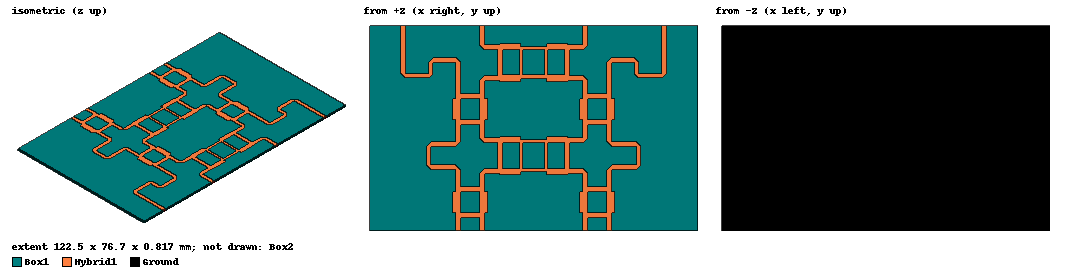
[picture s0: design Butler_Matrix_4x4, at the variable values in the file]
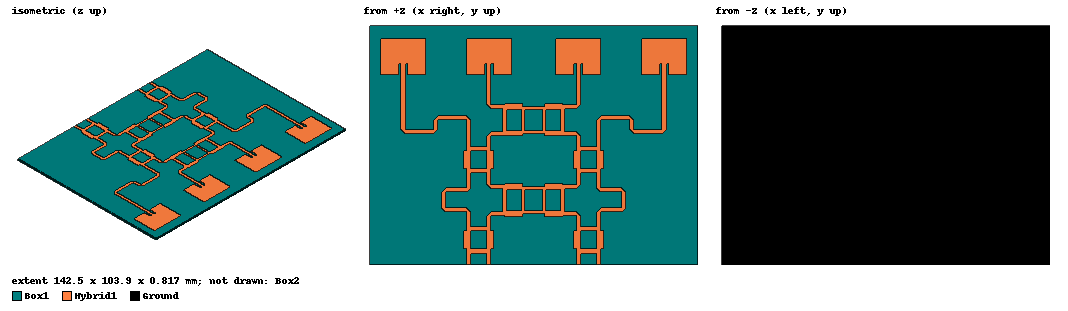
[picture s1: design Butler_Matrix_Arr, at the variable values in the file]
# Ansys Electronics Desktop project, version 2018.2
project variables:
  $W_50 = 2.21849mm
  $L_50 = 8.92656mm
  $W_120 = 0.30894mm
  $W_70 = 1.19566mm
  $L_120 = 9.52516mm
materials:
  copper: permeability=0.999991 conductivity=58000000
  FR4_epoxy: permittivity=4.4 dielectric_loss_tangent=0.02
  Rogers RO4003 (tm): permittivity=3.55 dielectric_loss_tangent=0.0027
  vacuum: permittivity=1

design Butler_Matrix_4x4 (HFSS, DrivenModal, model units mm)
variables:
  H = 0.8mm
  W_50 = 2.3mm
  Hybrid_L_35 = 7.82mm
  Hybrid_L_50 = 7.05mm
  Hybrid_L = 2*Hybrid_L_feed+2*Hybrid_W_50+Hybrid_L_35
  Hybrid_W = 25mm
  Hybrid_W_50 = 1.7645mm
  Hybrid_W_35 = 2.985mm
  Hybrid_L_feed = 5mm
  Cross_L_50 = Cross_L_64
  Cross_W_50 = 1.76772mm
  Cross_L_feed = 5mm
  Cross_L = 2*Cross_L_feed+2*Cross_L_40+Cross_L_64+Cross_W_50
  Cross_W = 25mm
  Phase_c = 6.920022mm
  Phase_W = 40mm
  Phase_W_50 = 1.7645mm
  Phase_a = 1.5mm
  Phase_b = 9.3mm
  L_feed6 = L_feed5
  L_feed7 = L_feed5
  L_feed5 = 7.1mm
  L = 2*Hybrid_L+2*Cross_L_50+2*Cross_W_50+2*Cross_W_40+L_feed5
  L_feed8 = L_feed5
  W = Cross_L+6*Hybrid_W_50+2*Hybrid_L_50+2*Phase_b
  exten_b = 4mm
  exten_W_50 = 1.7645mm
  exten_a = 6.724511mm
  exten_c = 8.5mm
  exten_W = 30mm
  exten_L = 2*exten_a+2*exten_W_50+exten_c
  Phase_L = 2*Phase_a+2*Phase_W_50+Phase_c
  L_feed = 5mm
  L_50 = 9.2mm
  exten_pad = 6mm
  Cross_L_64 = 9.348402mm
  Cross_W_64 = 1.1734mm
  Cross_L_40 = 7.9149mm
  Cross_W_40 = 2.3329mm
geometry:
  Box1 [Rogers RO4003 (tm)] = box(corner=(-25mm, 0mm, 0mm), size=(W+42.292mm, L, H))
  Ground = object_from(Box1.face(-z))
  Port2 = rectangle(corner=(Hybrid_W/2+Hybrid_L_50/2, 0mm, H), z_size=-H, x_size=Hybrid_W_50)
  Port1 = rectangle(corner=(Hybrid_W/2-Hybrid_L_50/2, 0mm, H), z_size=-H, x_size=-Hybrid_W_50)
  Port3 = rectangle(corner=(Cross_L+Hybrid_W/2+Hybrid_L_50/2+Hybrid_W_50, 0mm, H), z_size=-H, x_size=Hybrid_W_50)
  Port4 = rectangle(corner=(Cross_L+Hybrid_W/2+1.5*Hybrid_L_50+2*Hybrid_W_50, 0mm, H), z_size=-H, x_size=Hybrid_W_50)
  Port5 = rectangle(corner=(Hybrid_W/2-Hybrid_L_50/2-2*exten_W_50-2*exten_c, L, H), z_size=-H, x_size=-Hybrid_W_50)
  Port6 = rectangle(corner=(Hybrid_W/2+Hybrid_L_50/2, L, H), z_size=-H, x_size=Cross_W_50)
  Port7 = rectangle(corner=(Cross_L+Hybrid_W/2+Hybrid_L_50/2+Hybrid_W_50, L, H), z_size=-H, x_size=Cross_W_50)
  Port8 = rectangle(corner=(Cross_L+Hybrid_W/2+1.5*Hybrid_L_50+4*Hybrid_W_50+2*exten_c, L, H), z_size=-H, x_size=Hybrid_W_50)
  Box2 [vacuum] = box(corner=(-35mm, -10mm, -10mm), size=(W+70mm-2*3.854mm, 20mm+L, 20mm))
  Hybrid1 [copper] = rectangle(corner=(Hybrid_W/2-Hybrid_L_50/2, 0mm, H), x_size=-Hybrid_W_50, y_size=Hybrid_L_feed+Hybrid_W_50)
  feed2 = rectangle(corner=(Hybrid_W/2-Hybrid_L_50/2, Hybrid_L, H), x_size=-Hybrid_W_50, y_size=-Hybrid_L_feed-Hybrid_W_50)
  feed3 = rectangle(corner=(Hybrid_W/2+Hybrid_L_50/2, Hybrid_L, H), x_size=Hybrid_W_50, y_size=-Hybrid_L_feed-Hybrid_W_50)
  feed4 = rectangle(corner=(Hybrid_W/2+Hybrid_L_50/2, 0mm, H), x_size=Hybrid_W_50, y_size=Hybrid_L_feed+Hybrid_W_50)
  branch42 = rectangle(corner=(Hybrid_W/2-Hybrid_L_50/2, Hybrid_L_feed+Hybrid_W_50, H), x_size=-Hybrid_W_35, y_size=Hybrid_L_35)
  branch43 = rectangle(corner=(Hybrid_W/2+Hybrid_L_50/2, Hybrid_L_feed+Hybrid_W_50, H), x_size=Hybrid_W_35, y_size=Hybrid_L_35)
  branch44 = rectangle(corner=(Hybrid_W/2-Hybrid_L_50/2, Hybrid_L_feed, H), x_size=Hybrid_L_50, y_size=Hybrid_W_50)
  branch45 = rectangle(corner=(Hybrid_W/2-Hybrid_L_50/2, Hybrid_L_feed+Hybrid_L_35+Hybrid_W_50, H), x_size=Hybrid_L_50, y_size=Hybrid_W_50)
  Hybrid1.unite(feed2, feed3, feed4, branch42..branch45)
  Hybird3 = Hybrid1.duplicate_along_line(step=(0mm, Hybrid_L+Cross_L_50+Cross_W_50+Cross_W_40, 0mm), total=2)
  Bend_1 = polyline(z=H, xy: (Hybrid_W/2+Hybrid_L_50/2+Hybrid_W_50, Hybrid_L) (Hybrid_W/2+Hybrid_L_50/2+Hybrid_W_50, Hybrid_L+Cross_W_50) (Hybrid_W/2+Hybrid_L_50/2, Hybrid_L) (Hybrid_W/2+Hybrid_L_50/2+Hybrid_W_50, Hybrid_L), closed, covered)
  Bend_2 = polyline(z=H, xy: (Cross_L+Hybrid_W/2+Hybrid_L_50/2+Hybrid_W_50, Hybrid_L) (Cross_L+Hybrid_W/2+Hybrid_L_50/2+2*Hybrid_W_50, Hybrid_L) (Cross_L+Hybrid_W/2+Hybrid_L_50/2+Hybrid_W_50, Hybrid_L+Cross_W_50) (Cross_L+Hybrid_W/2+Hybrid_L_50/2+Hybrid_W_50, Hybrid_L), closed, covered)
  Hybrid2 = Hybrid1.duplicate_along_line(step=(Cross_L+Hybrid_L_50+2*Hybrid_W_50, 0mm, 0mm), total=2)
  Hybrid4 = Hybird3.duplicate_along_line(step=(Cross_L+Hybrid_L_50+2*Hybrid_W_50, 0mm, 0mm), total=2)
  Bend_3 = polyline(z=H, xy: (Hybrid_W/2+Hybrid_L_50/2+Hybrid_W_50, Hybrid_L+Cross_W_40+Cross_L_50) (Hybrid_W/2+Hybrid_L_50/2+Hybrid_W_50, Hybrid_L+Cross_W_50+Cross_W_40+Cross_L_50) (Hybrid_W/2+Hybrid_L_50/2, Hybrid_L+Cross_W_50+Cross_W_40+Cross_L_50) (Hybrid_W/2+Hybrid_L_50/2+Hybrid_W_50, Hybrid_L+Cross_W_40+Cross_L_50), closed, covered)
  Bend_4 = polyline(z=H, xy: (Cross_L+Hybrid_W/2+Hybrid_L_50/2+Hybrid_W_50, Hybrid_L+Cross_L_50+Cross_W_40) (Cross_L+Hybrid_W/2+Hybrid_L_50/2+Hybrid_W_50, Hybrid_L+Cross_L_50+Cross_W_50+Cross_W_40) (Cross_L+Hybrid_W/2+Hybrid_L_50/2+2*Hybrid_W_50, Hybrid_L+Cross_L_50+Cross_W_50+Cross_W_40) (Cross_L+Hybrid_W/2+Hybrid_L_50/2+Hybrid_W_50, Hybrid_L+Cross_L_50+Cross_W_40), closed, covered)
  Bend_5 = polyline(z=H, xy: (Hybrid_W/2+Hybrid_L_50/2+Hybrid_W_50, Hybrid_L+Cross_W_40+Cross_W_50+Cross_L_50+Hybrid_L) (Hybrid_W/2+Hybrid_L_50/2+Hybrid_W_50, Hybrid_L+Cross_W_40+2*Cross_W_50+Cross_L_50+Hybrid_L) (Hybrid_W/2+Hybrid_L_50/2, Hybrid_L+Cross_W_40+Cross_W_50+Cross_L_50+Hybrid_L) (Hybrid_W/2+Hybrid_L_50/2+Hybrid_W_50, Hybrid_L+Cross_W_40+Cross_W_50+Cross_L_50+Hybrid_L), closed, covered)
  Bend_6 = polyline(z=H, xy: (Cross_L+Hybrid_W/2+Hybrid_L_50/2+Hybrid_W_50, 2*Hybrid_L+Cross_L_50+Cross_W_50+Cross_W_40) (Cross_L+Hybrid_W/2+Hybrid_L_50/2+Hybrid_W_50, 2*Hybrid_L+Cross_L_50+2*Cross_W_50+Cross_W_40) (Cross_L+Hybrid_W/2+Hybrid_L_50/2+2*Hybrid_W_50, 2*Hybrid_L+Cross_L_50+Cross_W_50+Cross_W_40) (Cross_L+Hybrid_W/2+Hybrid_L_50/2+Hybrid_W_50, 2*Hybrid_L+Cross_L_50+Cross_W_50+Cross_W_40), closed, covered)
  Phaser45_top = rectangle(corner=(Phase_W/2-Phase_W_50/2, 0mm, H), x_size=Phase_W_50, y_size=Phase_a)
  TL5 = rectangle(corner=(Phase_W/2-Phase_W_50/2, Phase_a+2*Phase_W_50+Phase_c, H), x_size=Phase_W_50, y_size=Phase_a)
  TL4 = rectangle(corner=(Phase_W/2-Phase_W_50/2-Phase_b, Phase_a+Phase_W_50+Phase_c, H), x_size=Phase_b, y_size=Phase_W_50)
  TL3 = rectangle(corner=(Phase_W/2-Phase_W_50/2-Phase_b, Phase_a+Phase_W_50, H), x_size=-Phase_W_50, y_size=Phase_c)
  TL2 = rectangle(corner=(Phase_W/2-Phase_W_50/2, Phase_a, H), x_size=-Phase_b, y_size=Phase_W_50)
  Bend10 = polyline(z=H, xy: (Phase_W/2-Phase_W_50/2, Phase_a+Phase_W_50+Phase_c) (Phase_W/2+Phase_W_50/2, Phase_a+2*Phase_W_50+Phase_c) (Phase_W/2-Phase_W_50/2, Phase_a+2*Phase_W_50+Phase_c) (Phase_W/2-Phase_W_50/2, Phase_a+Phase_W_50+Phase_c), closed, covered)
  Bend9 = polyline(z=H, xy: (Phase_W/2-1.5*Phase_W_50-Phase_b, Phase_a+Phase_W_50+Phase_c) (Phase_W/2-Phase_W_50/2-Phase_b, Phase_a+2*Phase_W_50+Phase_c) (Phase_W/2-Phase_W_50/2-Phase_b, Phase_a+Phase_W_50+Phase_c) (Phase_W/2-1.5*Phase_W_50-Phase_b, Phase_a+Phase_W_50+Phase_c), closed, covered)
  Bend8 = polyline(z=H, xy: (Phase_W/2-Phase_W_50/2-Phase_b, Phase_a) (Phase_W/2-1.5*Phase_W_50-Phase_b, Phase_a+Phase_W_50) (Phase_W/2-Phase_W_50/2-Phase_b, Phase_a+Phase_W_50) (Phase_W/2-Phase_W_50/2-Phase_b, Phase_a), closed, covered)
  Bend7 = polyline(z=H, xy: (Phase_W/2+Phase_W_50/2, Phase_a) (Phase_W/2-Phase_W_50/2, Phase_a+Phase_W_50) (Phase_W/2-Phase_W_50/2, Phase_a) (Phase_W/2+Phase_W_50/2, Phase_a), closed, covered)
  Phaser45_top.unite(TL5, TL4, TL3, TL2, Bend10, Bend9, Bend8, Bend7)
  Phaser45_top.move(-Phase_W/2+Phase_W_50/2+Hybrid_W/2-Hybrid_L_50/2-Hybrid_W_50, Hybrid_L, 0mm)
  Phaser45_down = Phaser45_top.duplicate_mirror(point=(Hybrid_W/2+Hybrid_L_50/2+Hybrid_W_50+Cross_L/2, Hybrid_L+Cross_W_50+Cross_L_50/2, 0mm), normal=(1mm, 0mm, 0mm))
  Feed_6 = rectangle(corner=(Hybrid_W/2+Hybrid_L_50/2+Hybrid_W_50, 2*Hybrid_L+2*Cross_W_50+2*Cross_W_40+2*Cross_L_50, H), x_size=-Cross_W_50, y_size=L_feed6)
  Feed_7 = rectangle(corner=(Cross_L+Hybrid_W/2+Hybrid_L_50/2+Hybrid_W_50, 2*Hybrid_L+2*Cross_L_50+2*Cross_W_50+2*Cross_W_40, H), x_size=Cross_W_50, y_size=L_feed7)
  Feed_5 = rectangle(corner=(Hybrid_W/2-Hybrid_L_50/2-2*exten_W_50-2*exten_c, 2*Hybrid_L+2*Cross_W_50+2*Cross_W_40+2*Cross_L_50, H), x_size=-Hybrid_W_50, y_size=L_feed5)
  Feed_8 = rectangle(corner=(Cross_L+Hybrid_W/2+1.5*Hybrid_L_50+2*Hybrid_W_50+2*exten_c+2*exten_W_50, 2*Hybrid_L+2*Cross_W_50+2*Cross_W_40+2*Cross_L_50, H), x_size=Hybrid_W_50, y_size=L_feed8)
  Bend_7 = polyline(z=H, xy: (Hybrid_W/2+Hybrid_L_50/2+Hybrid_W_50, 2*Hybrid_L+Cross_W_50+2*Cross_W_40+2*Cross_L_50) (Hybrid_W/2+Hybrid_L_50/2+Hybrid_W_50, 2*Hybrid_L+2*Cross_W_50+2*Cross_W_40+2*Cross_L_50) (Hybrid_W/2+Hybrid_L_50/2, 2*Hybrid_L+2*Cross_W_50+2*Cross_W_40+2*Cross_L_50) (Hybrid_W/2+Hybrid_L_50/2+Hybrid_W_50, 2*Hybrid_L+Cross_W_50+2*Cross_W_40+2*Cross_L_50), closed, covered)
  Bend_8 = polyline(z=H, xy: (Cross_L+Hybrid_W/2+Hybrid_L_50/2+Hybrid_W_50, 2*Hybrid_L+2*Cross_L_50+Cross_W_50+2*Cross_W_40) (Cross_L+Hybrid_W/2+Hybrid_L_50/2+Hybrid_W_50, 2*Hybrid_L+2*Cross_L_50+2*Cross_W_50+2*Cross_W_40) (Cross_L+Hybrid_W/2+Hybrid_L_50/2+2*Hybrid_W_50, 2*Hybrid_L+2*Cross_L_50+2*Cross_W_50+2*Cross_W_40) (Cross_L+Hybrid_W/2+Hybrid_L_50/2+Hybrid_W_50, 2*Hybrid_L+2*Cross_L_50+Cross_W_50+2*Cross_W_40), closed, covered)
  coordinate_system RelativeCS1 = origin=(Cross_W/2+Cross_L_50/2+Cross_W_40/2+Cross_W_50/2, 0mm, 0.8mm) x=(1mm, 0mm, 0mm) y=(0mm, 1mm, 0mm)
  Top = rectangle(corner=(exten_W-exten_W_50-exten_pad, 0mm, H), x_size=exten_W_50, y_size=exten_a)
  TL6 = rectangle(corner=(exten_W-2*exten_W_50-exten_pad-2*exten_c, exten_a, H), x_size=-exten_W_50, y_size=exten_a)
  TL9 = rectangle(corner=(exten_W-2*exten_W_50-exten_pad-2*exten_c, exten_a-exten_b, H), x_size=-exten_W_50, y_size=exten_b)
  TL10 = rectangle(corner=(exten_W-2*exten_W_50-exten_pad-exten_c, exten_a-exten_b, H), x_size=-exten_c, y_size=-exten_W_50)
  TL8 = rectangle(corner=(exten_W-exten_W_50-exten_pad-exten_c, exten_a, H), x_size=-exten_W_50, y_size=-exten_b)
  TL7 = rectangle(corner=(exten_W-exten_W_50-exten_pad, exten_a, H), x_size=-exten_c, y_size=exten_W_50)
  Bend4 = polyline(z=H, xy: (exten_W-2*exten_W_50-exten_pad-2*exten_c, exten_a-exten_b-exten_W_50) (exten_W-2*exten_W_50-exten_pad-2*exten_c, exten_a-exten_b) (exten_W-3*exten_W_50-exten_pad-2*exten_c, exten_a-exten_b) (exten_W-2*exten_W_50-exten_pad-2*exten_c, exten_a-exten_b-exten_W_50), closed, covered)
  Bend3 = polyline(z=H, xy: (exten_W-2*exten_W_50-exten_pad-exten_c, exten_a-exten_b) (exten_W-2*exten_W_50-exten_pad-exten_c, exten_a-exten_b-exten_W_50) (exten_W-exten_W_50-exten_pad-exten_c, exten_a-exten_b) (exten_W-2*exten_W_50-exten_pad-exten_c, exten_a-exten_b), closed, covered)
  Bend2 = polyline(z=H, xy: (exten_W-exten_W_50-exten_pad-exten_c, exten_a) (exten_W-2*exten_W_50-exten_pad-exten_c, exten_a) (exten_W-exten_W_50-exten_pad-exten_c, exten_a+exten_W_50) (exten_W-exten_W_50-exten_pad-exten_c, exten_a), closed, covered)
  Bend1 = polyline(z=H, xy: (exten_W-exten_pad, exten_a) (exten_W-exten_W_50-exten_pad, exten_a+exten_W_50) (exten_W-exten_W_50-exten_pad, exten_a) (exten_W-exten_pad, exten_a), closed, covered)
  Top.unite(TL6, TL9, TL10, TL8, TL7, Bend4, Bend3, Bend2, Bend1)
  Top.move(-exten_W+exten_W_50+exten_pad+Hybrid_W/2-Hybrid_L_50/2-Hybrid_W_50, 2*Hybrid_L+Cross_W_40+Cross_W_50+Cross_L_50, 0mm)
  Crossover1 = rectangle(corner=(Cross_W/2-Cross_L_64/2-Cross_W_40/2-Cross_W_50/2, 0mm, H), x_size=Cross_W_50, y_size=Cross_L_feed+Cross_W_50/2)
  feed6 = rectangle(corner=(Cross_W/2-Cross_L_64/2-Cross_W_40/2-Cross_W_50/2, Cross_L, H), x_size=Cross_W_50, y_size=-Cross_L_feed-Cross_W_50/2)
  feed7 = rectangle(corner=(Cross_W/2+Cross_L_64/2+Cross_W_40/2+Cross_W_50/2, Cross_L, H), x_size=-Cross_W_50, y_size=-Cross_L_feed-Cross_W_50/2)
  feed5 = rectangle(corner=(Cross_W/2+Cross_L_64/2+Cross_W_40/2+Cross_W_50/2, 0mm, H), x_size=-Cross_W_50, y_size=Cross_L_feed+Cross_W_50/2)
  parallel1 = rectangle(corner=(Cross_W/2-Cross_L_64/2, Cross_L_feed, H), x_size=Cross_L_50, y_size=Cross_W_50)
  parallel2 = rectangle(corner=(Cross_W/2-Cross_L_64/2, Cross_L_feed+Cross_W_50/2+Cross_L_40-Cross_W_64/2, H), x_size=Cross_L_64, y_size=Cross_W_64)
  parallel3 = rectangle(corner=(Cross_W/2-Cross_L_64/2, Cross_L_feed+Cross_W_50/2+Cross_L_40+Cross_L_64-Cross_W_64/2, H), x_size=Cross_L_64, y_size=Cross_W_64)
  parallel4 = rectangle(corner=(Cross_W/2-Cross_L_64/2, Cross_L_feed+2*Cross_L_40+Cross_L_64, H), x_size=Cross_L_50, y_size=Cross_W_50)
  Polyline1 = polyline(z=H, xy: (Cross_W/2-Cross_L_50/2, Cross_L_feed+Cross_W_50/2) (Cross_W/2-Cross_L_50/2-Cross_W_40/2+Cross_W_50/2, Cross_L_feed+Cross_W_50/2) (Cross_W/2-Cross_L_50/2-Cross_W_40/2+Cross_W_50/2, Cross_L_feed) (Cross_W/2-Cross_L_50/2, Cross_L_feed) (Cross_W/2-Cross_L_50/2, Cross_L_feed+Cross_W_50/2), closed, covered)
  Polyline2 = polyline(z=H, xy: (Cross_W/2+Cross_L_50/2, Cross_L_feed+Cross_W_50/2) (Cross_W/2+Cross_L_50/2+Cross_W_40/2-Cross_W_50/2, Cross_L_feed+Cross_W_50/2) (Cross_W/2+Cross_L_50/2+Cross_W_40/2-Cross_W_50/2, Cross_L_feed) (Cross_W/2+Cross_L_50/2, Cross_L_feed) (Cross_W/2+Cross_L_50/2, Cross_L_feed+Cross_W_50/2), closed, covered)
  Polyline3 = polyline(z=H, xy: (Cross_W/2-Cross_L_50/2, Cross_L-Cross_L_feed-Cross_W_50/2) (Cross_W/2-Cross_L_50/2, Cross_L-Cross_L_feed) (Cross_W/2-Cross_L_50/2-Cross_W_40/2+Cross_W_50/2, Cross_L-Cross_L_feed) (Cross_W/2-Cross_L_50/2-Cross_W_40/2+Cross_W_50/2, Cross_L-Cross_L_feed-Cross_W_50/2) (Cross_W/2-Cross_L_50/2, Cross_L-Cross_L_feed-Cross_W_50/2), closed, covered)
  Polyline4 = polyline(z=H, xy: (Cross_W/2+Cross_L_50/2, Cross_L-Cross_L_feed-Cross_W_50/2) (Cross_W/2+Cross_L_50/2+Cross_W_40/2-Cross_W_50/2, Cross_L-Cross_L_feed-Cross_W_50/2) (Cross_W/2+Cross_L_50/2+Cross_W_40/2-Cross_W_50/2, Cross_L-Cross_L_feed) (Cross_W/2+Cross_L_50/2, Cross_L-Cross_L_feed) (Cross_W/2+Cross_L_50/2, Cross_L-Cross_L_feed-Cross_W_50/2), closed, covered)
  series1_1 = rectangle(corner=(Cross_W/2-Cross_L_64/2, Cross_L_feed+Cross_W_50/2, H), x_size=-Cross_W_40, y_size=Cross_L_40)
  series1_2 = rectangle(corner=(Cross_W/2+Cross_L_64/2, Cross_L_feed+Cross_W_50/2, H), x_size=Cross_W_40, y_size=Cross_L_40)
  series2_1 = rectangle(corner=(Cross_W/2-Cross_L_64/2, Cross_L_feed+Cross_W_50/2+Cross_L_40, H), x_size=-Cross_W_64, y_size=Cross_L_64)
  series2_2 = rectangle(corner=(Cross_W/2+Cross_L_64/2, Cross_L_feed+Cross_W_50/2+Cross_L_40, H), x_size=Cross_W_64, y_size=Cross_L_64)
  series3_1 = rectangle(corner=(Cross_W/2-Cross_L_64/2, Cross_L_feed+Cross_W_50/2+Cross_L_40+Cross_L_64, H), x_size=-Cross_W_40, y_size=Cross_L_40)
  series3_2 = rectangle(corner=(Cross_W/2+Cross_L_64/2, Cross_L_feed+Cross_W_50/2+Cross_L_40+Cross_L_64, H), x_size=Cross_W_40, y_size=Cross_L_40)
  Crossover1.unite(feed6, feed7, feed5, parallel1..parallel4, Polyline1..Polyline4, series1_1, series1_2, series2_1, series2_2, series3_1, series3_2)
  Crossover1.rotate(axis=Z, angle=-90deg) in RelativeCS1
  Crossover1.move(Hybrid_W/2+Hybrid_L_50/2+Hybrid_W_50-Cross_W/2-Cross_L_50/2-Cross_W_50/2-Cross_W_40/2, Hybrid_L, 0mm) in RelativeCS1
  Crossover2 = Crossover1.duplicate_along_line(step=(3.5527137e-15mm, 34.798022mm, 0mm), total=2) in RelativeCS1
  Top_1 = Top.duplicate_mirror(point=(Hybrid_W/2+Hybrid_L_50/2+Hybrid_W_50+Cross_L/2, 2*Hybrid_L+Cross_W_40+Cross_W_50+Cross_L_50, 0mm), normal=(1mm, 0mm, 0mm))
  Hybrid1.unite(Hybrid2, Phaser45_down, Hybrid4, Phaser45_top, Top, Top_1, Hybird3, Feed_8, Feed_7, Feed_6, Feed_5, Crossover2, Crossover1, Bend_8, Bend_7, Bend_6, Bend_4, Bend_5, Bend_3, Bend_2, Bend_1)
  Hybrid1.thicken(-0.017mm)
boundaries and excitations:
  PerfE1: Perfect E Objects=Ground
  Rad1: Radiation Objects=Box2
  1: Lumped Port Faces=Port1.face Modes{Mode1{IntLine{middle of Port1.edge(z opposite corner) -> middle of Port1.edge(z at corner)} CharImp=Zpi RenormImp=50ohm}} Impedance=50ohm
  2: Lumped Port Objects=Port2 Modes{Mode1{IntLine{middle of Port2.edge(z opposite corner) -> middle of Port2.edge(z at corner)} CharImp=Zpi RenormImp=50ohm}} Impedance=50ohm
  3: Lumped Port Objects=Port3 Modes{Mode1{IntLine{middle of Port3.edge(z opposite corner) -> middle of Port3.edge(z at corner)} CharImp=Zpi RenormImp=50ohm}} Impedance=50ohm
  4: Lumped Port Objects=Port4 Modes{Mode1{IntLine{middle of Port4.edge(z opposite corner) -> middle of Port4.edge(z at corner)} CharImp=Zpi RenormImp=50ohm}} Impedance=50ohm
  5: Lumped Port Objects=Port5 Modes{Mode1{IntLine{middle of Port5.edge(z opposite corner) -> middle of Port5.edge(z at corner)} CharImp=Zpi RenormImp=50ohm}} Impedance=50ohm
  6: Lumped Port Objects=Port6 Modes{Mode1{IntLine{middle of Port6.edge(z opposite corner) -> middle of Port6.edge(z at corner)} CharImp=Zpi RenormImp=50ohm}} Impedance=50ohm
  7: Lumped Port Objects=Port7 Modes{Mode1{IntLine{middle of Port7.edge(z opposite corner) -> middle of Port7.edge(z at corner)} CharImp=Zpi RenormImp=50ohm}} Impedance=50ohm
  8: Lumped Port Objects=Port8 Modes{Mode1{IntLine{middle of Port8.edge(z opposite corner) -> middle of Port8.edge(z at corner)} CharImp=Zpi RenormImp=50ohm}} Impedance=50ohm
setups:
  Setup1: HfssDriven Frequency=5GHz MaxDeltaS=0.02 MaximumPasses=25 MinimumPasses=1 MinimumConvergedPasses=1 PercentRefinement=30 BasisOrder=1 PortAccuracy=2
    sweep Sweep: 4GHz to 6GHz step 0.01GHz; Type=Fast SaveFields
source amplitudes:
  1:1: 1W 0deg
  2:1, 3:1, 4:1, 5:1, 6:1, 7:1, 8:1: 0W 0deg
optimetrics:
  ParametricSetup1: Parametric disabled Sim._Setups=[Setup1]
    sweep L_feed5: LIN 2mm 8mm 0.25mm
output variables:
  phase_diff_5_6 = ang_deg(S(5,1))-ang_deg(S(6,1))
  phase_diff_6_7 = ang_deg(S(6,1))-ang_deg(S(7,1))
  phase_diff_7_8 = ang_deg(S(7,1))-ang_deg(S(8,1))
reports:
  S-Parameters: dB(S(1,1)), dB(S(2,1)), dB(S(3,1)), dB(S(4,1)) vs Freq on Setup1 : Sweep; markers MX1 at x=5.0029718e+09, MY1 at y=-14.975
  Insertion Loss: dB(S(5,1)), dB(S(6,1)), dB(S(7,1)), dB(S(8,1)) vs Freq on Setup1 : Sweep; markers MX1 at x=5.0029718e+09
  S Parameter Plot 3: ang_deg(S(5,1)), ang_deg(S(6,1)), ang_deg(S(7,1)), ang_deg(S(8,1)) vs Freq on Setup1 : Sweep; markers MX1 at x=5e+09
  Output Variables Plot 1: phase_diff_5_6, phase_diff_6_7, phase_diff_7_8 vs Freq on Setup1 : Sweep; markers MX1 at x=5e+09
  S Parameter Plot 4: ang_deg(S(2,1)) vs Freq on Setup1 : Sweep [L_feed5=all]; markers MX1 at x=4.9999383e+09

design Butler_Matrix_Arr (HFSS, DrivenModal, model units mm)
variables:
  H = 0.8mm
  W_50 = 1.7645mm
  Hybrid_L_35 = 7.82mm
  Hybrid_L_50 = 7.05mm
  Hybrid_L = 2*Hybrid_L_feed+2*Hybrid_W_50+Hybrid_L_35
  Hybrid_W = 25mm
  Hybrid_W_50 = 1.7645mm
  Hybrid_W_35 = 2.985mm
  Hybrid_L_feed = 5mm
  Cross_L_50 = Cross_L_64
  Cross_W_50 = 1.76772mm
  Cross_L_feed = 5mm
  Cross_L = 2*Cross_L_feed+2*Cross_L_40+Cross_L_64+Cross_W_50
  Cross_W = 25mm
  Phase_c = 6.920022mm
  Phase_W = 40mm
  Phase_W_50 = 1.7645mm
  Phase_a = 1.5mm
  Phase_b = 9.3mm
  L_feed6 = L_feed5
  L_feed7 = L_feed5
  L_feed5 = 7.1mm
  L = 2*Hybrid_L+2*Cross_L_50+2*Cross_W_50+2*Cross_W_40+L_feed5+La
  L_feed8 = L_feed5
  W = Cross_L+6*Hybrid_W_50+2*Hybrid_L_50+2*Phase_b
  exten_b = 4mm
  exten_W_50 = 1.7645mm
  exten_a = 6.724511mm
  exten_c = 12.5mm
  exten_W = 30mm
  exten_L = 2*exten_a+2*exten_W_50+exten_c
  Phase_L = 2*Phase_a+2*Phase_W_50+Phase_c
  L_feed = 5mm
  L_50 = 9.2mm
  exten_pad = 6mm
  Cross_L_64 = 9.348402mm
  Cross_W_64 = 1.1734mm
  Cross_L_40 = 7.9149mm
  Cross_W_40 = 2.3329mm
  Hybrid_L_120 = 8.0138mm
  Hybrid_W_120 = 0.2532mm
  Lp = 15.6mm
  hg = 1.9298mm
  La = Lp+6*hg
  depth = 4.842mm
  S = 4.005mm
  Wa = Wp+6*hg
  Wp = 19.9mm
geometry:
  Box1 [Rogers RO4003 (tm)] = box(corner=(-35mm, 0mm, 0mm), size=(W+62.292mm, L, H))
  Ground = object_from(Box1.face(-z))
  Port2 = rectangle(corner=(Hybrid_W/2+Hybrid_L_50/2, 0mm, H), z_size=-H, x_size=Hybrid_W_50)
  Port1 = rectangle(corner=(Hybrid_W/2-Hybrid_L_50/2, 0mm, H), z_size=-H, x_size=-Hybrid_W_50)
  Port3 = rectangle(corner=(Cross_L+Hybrid_W/2+Hybrid_L_50/2+Hybrid_W_50, 0mm, H), z_size=-H, x_size=Hybrid_W_50)
  Port4 = rectangle(corner=(Cross_L+Hybrid_W/2+1.5*Hybrid_L_50+2*Hybrid_W_50, 0mm, H), z_size=-H, x_size=Hybrid_W_50)
  Box2 [vacuum] = box(corner=(-45mm, -10mm, -10mm), size=(W+90mm-2*3.854mm, 20mm+L, 20mm))
  Hybrid1 [copper] = rectangle(corner=(Hybrid_W/2-Hybrid_L_50/2, 0mm, H), x_size=-Hybrid_W_50, y_size=Hybrid_L_feed+Hybrid_W_50)
  feed2 = rectangle(corner=(Hybrid_W/2-Hybrid_L_50/2, Hybrid_L, H), x_size=-Hybrid_W_50, y_size=-Hybrid_L_feed-Hybrid_W_50)
  feed3 = rectangle(corner=(Hybrid_W/2+Hybrid_L_50/2, Hybrid_L, H), x_size=Hybrid_W_50, y_size=-Hybrid_L_feed-Hybrid_W_50)
  feed4 = rectangle(corner=(Hybrid_W/2+Hybrid_L_50/2, 0mm, H), x_size=Hybrid_W_50, y_size=Hybrid_L_feed+Hybrid_W_50)
  branch42 = rectangle(corner=(Hybrid_W/2-Hybrid_L_50/2, Hybrid_L_feed+Hybrid_W_50, H), x_size=-Hybrid_W_35, y_size=Hybrid_L_35)
  branch43 = rectangle(corner=(Hybrid_W/2+Hybrid_L_50/2, Hybrid_L_feed+Hybrid_W_50, H), x_size=Hybrid_W_35, y_size=Hybrid_L_35)
  branch44 = rectangle(corner=(Hybrid_W/2-Hybrid_L_50/2, Hybrid_L_feed, H), x_size=Hybrid_L_50, y_size=Hybrid_W_50)
  branch45 = rectangle(corner=(Hybrid_W/2-Hybrid_L_50/2, Hybrid_L_feed+Hybrid_L_35+Hybrid_W_50, H), x_size=Hybrid_L_50, y_size=Hybrid_W_50)
  Hybrid1.unite(feed2, feed3, feed4, branch42..branch45)
  Hybird3 = Hybrid1.duplicate_along_line(step=(0mm, Hybrid_L+Cross_L_50+Cross_W_50+Cross_W_40, 0mm), total=2)
  Bend_1 = polyline(z=H, xy: (Hybrid_W/2+Hybrid_L_50/2+Hybrid_W_50, Hybrid_L) (Hybrid_W/2+Hybrid_L_50/2+Hybrid_W_50, Hybrid_L+Cross_W_50) (Hybrid_W/2+Hybrid_L_50/2, Hybrid_L) (Hybrid_W/2+Hybrid_L_50/2+Hybrid_W_50, Hybrid_L), closed, covered)
  Bend_2 = polyline(z=H, xy: (Cross_L+Hybrid_W/2+Hybrid_L_50/2+Hybrid_W_50, Hybrid_L) (Cross_L+Hybrid_W/2+Hybrid_L_50/2+2*Hybrid_W_50, Hybrid_L) (Cross_L+Hybrid_W/2+Hybrid_L_50/2+Hybrid_W_50, Hybrid_L+Cross_W_50) (Cross_L+Hybrid_W/2+Hybrid_L_50/2+Hybrid_W_50, Hybrid_L), closed, covered)
  Hybrid2 = Hybrid1.duplicate_along_line(step=(Cross_L+Hybrid_L_50+2*Hybrid_W_50, 0mm, 0mm), total=2)
  Hybrid4 = Hybird3.duplicate_along_line(step=(Cross_L+Hybrid_L_50+2*Hybrid_W_50, 0mm, 0mm), total=2)
  Bend_3 = polyline(z=H, xy: (Hybrid_W/2+Hybrid_L_50/2+Hybrid_W_50, Hybrid_L+Cross_W_40+Cross_L_50) (Hybrid_W/2+Hybrid_L_50/2+Hybrid_W_50, Hybrid_L+Cross_W_50+Cross_W_40+Cross_L_50) (Hybrid_W/2+Hybrid_L_50/2, Hybrid_L+Cross_W_50+Cross_W_40+Cross_L_50) (Hybrid_W/2+Hybrid_L_50/2+Hybrid_W_50, Hybrid_L+Cross_W_40+Cross_L_50), closed, covered)
  Bend_4 = polyline(z=H, xy: (Cross_L+Hybrid_W/2+Hybrid_L_50/2+Hybrid_W_50, Hybrid_L+Cross_L_50+Cross_W_40) (Cross_L+Hybrid_W/2+Hybrid_L_50/2+Hybrid_W_50, Hybrid_L+Cross_L_50+Cross_W_50+Cross_W_40) (Cross_L+Hybrid_W/2+Hybrid_L_50/2+2*Hybrid_W_50, Hybrid_L+Cross_L_50+Cross_W_50+Cross_W_40) (Cross_L+Hybrid_W/2+Hybrid_L_50/2+Hybrid_W_50, Hybrid_L+Cross_L_50+Cross_W_40), closed, covered)
  Bend_5 = polyline(z=H, xy: (Hybrid_W/2+Hybrid_L_50/2+Hybrid_W_50, Hybrid_L+Cross_W_40+Cross_W_50+Cross_L_50+Hybrid_L) (Hybrid_W/2+Hybrid_L_50/2+Hybrid_W_50, Hybrid_L+Cross_W_40+2*Cross_W_50+Cross_L_50+Hybrid_L) (Hybrid_W/2+Hybrid_L_50/2, Hybrid_L+Cross_W_40+Cross_W_50+Cross_L_50+Hybrid_L) (Hybrid_W/2+Hybrid_L_50/2+Hybrid_W_50, Hybrid_L+Cross_W_40+Cross_W_50+Cross_L_50+Hybrid_L), closed, covered)
  Bend_6 = polyline(z=H, xy: (Cross_L+Hybrid_W/2+Hybrid_L_50/2+Hybrid_W_50, 2*Hybrid_L+Cross_L_50+Cross_W_50+Cross_W_40) (Cross_L+Hybrid_W/2+Hybrid_L_50/2+Hybrid_W_50, 2*Hybrid_L+Cross_L_50+2*Cross_W_50+Cross_W_40) (Cross_L+Hybrid_W/2+Hybrid_L_50/2+2*Hybrid_W_50, 2*Hybrid_L+Cross_L_50+Cross_W_50+Cross_W_40) (Cross_L+Hybrid_W/2+Hybrid_L_50/2+Hybrid_W_50, 2*Hybrid_L+Cross_L_50+Cross_W_50+Cross_W_40), closed, covered)
  Phaser45_top = rectangle(corner=(Phase_W/2-Phase_W_50/2, 0mm, H), x_size=Phase_W_50, y_size=Phase_a)
  TL5 = rectangle(corner=(Phase_W/2-Phase_W_50/2, Phase_a+2*Phase_W_50+Phase_c, H), x_size=Phase_W_50, y_size=Phase_a)
  TL4 = rectangle(corner=(Phase_W/2-Phase_W_50/2-Phase_b, Phase_a+Phase_W_50+Phase_c, H), x_size=Phase_b, y_size=Phase_W_50)
  TL3 = rectangle(corner=(Phase_W/2-Phase_W_50/2-Phase_b, Phase_a+Phase_W_50, H), x_size=-Phase_W_50, y_size=Phase_c)
  TL2 = rectangle(corner=(Phase_W/2-Phase_W_50/2, Phase_a, H), x_size=-Phase_b, y_size=Phase_W_50)
  Bend10 = polyline(z=H, xy: (Phase_W/2-Phase_W_50/2, Phase_a+Phase_W_50+Phase_c) (Phase_W/2+Phase_W_50/2, Phase_a+2*Phase_W_50+Phase_c) (Phase_W/2-Phase_W_50/2, Phase_a+2*Phase_W_50+Phase_c) (Phase_W/2-Phase_W_50/2, Phase_a+Phase_W_50+Phase_c), closed, covered)
  Bend9 = polyline(z=H, xy: (Phase_W/2-1.5*Phase_W_50-Phase_b, Phase_a+Phase_W_50+Phase_c) (Phase_W/2-Phase_W_50/2-Phase_b, Phase_a+2*Phase_W_50+Phase_c) (Phase_W/2-Phase_W_50/2-Phase_b, Phase_a+Phase_W_50+Phase_c) (Phase_W/2-1.5*Phase_W_50-Phase_b, Phase_a+Phase_W_50+Phase_c), closed, covered)
  Bend8 = polyline(z=H, xy: (Phase_W/2-Phase_W_50/2-Phase_b, Phase_a) (Phase_W/2-1.5*Phase_W_50-Phase_b, Phase_a+Phase_W_50) (Phase_W/2-Phase_W_50/2-Phase_b, Phase_a+Phase_W_50) (Phase_W/2-Phase_W_50/2-Phase_b, Phase_a), closed, covered)
  Bend7 = polyline(z=H, xy: (Phase_W/2+Phase_W_50/2, Phase_a) (Phase_W/2-Phase_W_50/2, Phase_a+Phase_W_50) (Phase_W/2-Phase_W_50/2, Phase_a) (Phase_W/2+Phase_W_50/2, Phase_a), closed, covered)
  Phaser45_top.unite(TL5, TL4, TL3, TL2, Bend10, Bend9, Bend8, Bend7)
  Phaser45_top.move(-Phase_W/2+Phase_W_50/2+Hybrid_W/2-Hybrid_L_50/2-Hybrid_W_50, Hybrid_L, 0mm)
  Phaser45_down = Phaser45_top.duplicate_mirror(point=(Hybrid_W/2+Hybrid_L_50/2+Hybrid_W_50+Cross_L/2, Hybrid_L+Cross_W_50+Cross_L_50/2, 0mm), normal=(1mm, 0mm, 0mm))
  Feed_6 = rectangle(corner=(Hybrid_W/2+Hybrid_L_50/2+Hybrid_W_50, 2*Hybrid_L+2*Cross_W_50+2*Cross_W_40+2*Cross_L_50, H), x_size=-Hybrid_W_50, y_size=L_feed6)
  Feed_7 = rectangle(corner=(Cross_L+Hybrid_W/2+Hybrid_L_50/2+Hybrid_W_50, 2*Hybrid_L+2*Cross_L_50+2*Cross_W_50+2*Cross_W_40, H), x_size=Hybrid_W_50, y_size=L_feed7)
  Feed_5 = rectangle(corner=(Hybrid_W/2-Hybrid_L_50/2-2*exten_W_50-2*exten_c, 2*Hybrid_L+2*Cross_W_50+2*Cross_W_40+2*Cross_L_50, H), x_size=-Hybrid_W_50, y_size=L_feed5)
  Feed_8 = rectangle(corner=(Cross_L+Hybrid_W/2+1.5*Hybrid_L_50+2*Hybrid_W_50+2*exten_c+2*exten_W_50, 2*Hybrid_L+2*Cross_W_50+2*Cross_W_40+2*Cross_L_50, H), x_size=Hybrid_W_50, y_size=L_feed8)
  Bend_7 = polyline(z=H, xy: (Hybrid_W/2+Hybrid_L_50/2+Hybrid_W_50, 2*Hybrid_L+Cross_W_50+2*Cross_W_40+2*Cross_L_50) (Hybrid_W/2+Hybrid_L_50/2+Hybrid_W_50, 2*Hybrid_L+2*Cross_W_50+2*Cross_W_40+2*Cross_L_50) (Hybrid_W/2+Hybrid_L_50/2, 2*Hybrid_L+2*Cross_W_50+2*Cross_W_40+2*Cross_L_50) (Hybrid_W/2+Hybrid_L_50/2+Hybrid_W_50, 2*Hybrid_L+Cross_W_50+2*Cross_W_40+2*Cross_L_50), closed, covered)
  Bend_8 = polyline(z=H, xy: (Cross_L+Hybrid_W/2+Hybrid_L_50/2+Hybrid_W_50, 2*Hybrid_L+2*Cross_L_50+Cross_W_50+2*Cross_W_40) (Cross_L+Hybrid_W/2+Hybrid_L_50/2+Hybrid_W_50, 2*Hybrid_L+2*Cross_L_50+2*Cross_W_50+2*Cross_W_40) (Cross_L+Hybrid_W/2+Hybrid_L_50/2+2*Hybrid_W_50, 2*Hybrid_L+2*Cross_L_50+2*Cross_W_50+2*Cross_W_40) (Cross_L+Hybrid_W/2+Hybrid_L_50/2+Hybrid_W_50, 2*Hybrid_L+2*Cross_L_50+Cross_W_50+2*Cross_W_40), closed, covered)
  coordinate_system RelativeCS1 = origin=(Cross_W/2+Cross_L_50/2+Cross_W_40/2+Cross_W_50/2, 0mm, 0.8mm) x=(1mm, 0mm, 0mm) y=(0mm, 1mm, 0mm)
  Top = rectangle(corner=(exten_W-exten_W_50-exten_pad, 0mm, H), x_size=exten_W_50, y_size=exten_a)
  TL6 = rectangle(corner=(exten_W-2*exten_W_50-exten_pad-2*exten_c, exten_a, H), x_size=-exten_W_50, y_size=exten_a)
  TL9 = rectangle(corner=(exten_W-2*exten_W_50-exten_pad-2*exten_c, exten_a-exten_b, H), x_size=-exten_W_50, y_size=exten_b)
  TL10 = rectangle(corner=(exten_W-2*exten_W_50-exten_pad-exten_c, exten_a-exten_b, H), x_size=-exten_c, y_size=-exten_W_50)
  TL8 = rectangle(corner=(exten_W-exten_W_50-exten_pad-exten_c, exten_a, H), x_size=-exten_W_50, y_size=-exten_b)
  TL7 = rectangle(corner=(exten_W-exten_W_50-exten_pad, exten_a, H), x_size=-exten_c, y_size=exten_W_50)
  Bend4 = polyline(z=H, xy: (exten_W-2*exten_W_50-exten_pad-2*exten_c, exten_a-exten_b-exten_W_50) (exten_W-2*exten_W_50-exten_pad-2*exten_c, exten_a-exten_b) (exten_W-3*exten_W_50-exten_pad-2*exten_c, exten_a-exten_b) (exten_W-2*exten_W_50-exten_pad-2*exten_c, exten_a-exten_b-exten_W_50), closed, covered)
  Bend3 = polyline(z=H, xy: (exten_W-2*exten_W_50-exten_pad-exten_c, exten_a-exten_b) (exten_W-2*exten_W_50-exten_pad-exten_c, exten_a-exten_b-exten_W_50) (exten_W-exten_W_50-exten_pad-exten_c, exten_a-exten_b) (exten_W-2*exten_W_50-exten_pad-exten_c, exten_a-exten_b), closed, covered)
  Bend2 = polyline(z=H, xy: (exten_W-exten_W_50-exten_pad-exten_c, exten_a) (exten_W-2*exten_W_50-exten_pad-exten_c, exten_a) (exten_W-exten_W_50-exten_pad-exten_c, exten_a+exten_W_50) (exten_W-exten_W_50-exten_pad-exten_c, exten_a), closed, covered)
  Bend1 = polyline(z=H, xy: (exten_W-exten_pad, exten_a) (exten_W-exten_W_50-exten_pad, exten_a+exten_W_50) (exten_W-exten_W_50-exten_pad, exten_a) (exten_W-exten_pad, exten_a), closed, covered)
  Top.unite(TL6, TL9, TL10, TL8, TL7, Bend4, Bend3, Bend2, Bend1)
  Top.move(-exten_W+exten_W_50+exten_pad+Hybrid_W/2-Hybrid_L_50/2-Hybrid_W_50, 2*Hybrid_L+Cross_W_40+Cross_W_50+Cross_L_50, 0mm)
  Crossover1 = rectangle(corner=(Cross_W/2-Cross_L_64/2-Cross_W_40/2-Cross_W_50/2, 0mm, H), x_size=Cross_W_50, y_size=Cross_L_feed+Cross_W_50/2)
  feed6 = rectangle(corner=(Cross_W/2-Cross_L_64/2-Cross_W_40/2-Cross_W_50/2, Cross_L, H), x_size=Cross_W_50, y_size=-Cross_L_feed-Cross_W_50/2)
  feed7 = rectangle(corner=(Cross_W/2+Cross_L_64/2+Cross_W_40/2+Cross_W_50/2, Cross_L, H), x_size=-Cross_W_50, y_size=-Cross_L_feed-Cross_W_50/2)
  feed5 = rectangle(corner=(Cross_W/2+Cross_L_64/2+Cross_W_40/2+Cross_W_50/2, 0mm, H), x_size=-Cross_W_50, y_size=Cross_L_feed+Cross_W_50/2)
  parallel1 = rectangle(corner=(Cross_W/2-Cross_L_64/2, Cross_L_feed, H), x_size=Cross_L_50, y_size=Cross_W_50)
  parallel2 = rectangle(corner=(Cross_W/2-Cross_L_64/2, Cross_L_feed+Cross_W_50/2+Cross_L_40-Cross_W_64/2, H), x_size=Cross_L_64, y_size=Cross_W_64)
  parallel3 = rectangle(corner=(Cross_W/2-Cross_L_64/2, Cross_L_feed+Cross_W_50/2+Cross_L_40+Cross_L_64-Cross_W_64/2, H), x_size=Cross_L_64, y_size=Cross_W_64)
  parallel4 = rectangle(corner=(Cross_W/2-Cross_L_64/2, Cross_L_feed+2*Cross_L_40+Cross_L_64, H), x_size=Cross_L_50, y_size=Cross_W_50)
  Polyline1 = polyline(z=H, xy: (Cross_W/2-Cross_L_50/2, Cross_L_feed+Cross_W_50/2) (Cross_W/2-Cross_L_50/2-Cross_W_40/2+Cross_W_50/2, Cross_L_feed+Cross_W_50/2) (Cross_W/2-Cross_L_50/2-Cross_W_40/2+Cross_W_50/2, Cross_L_feed) (Cross_W/2-Cross_L_50/2, Cross_L_feed) (Cross_W/2-Cross_L_50/2, Cross_L_feed+Cross_W_50/2), closed, covered)
  Polyline2 = polyline(z=H, xy: (Cross_W/2+Cross_L_50/2, Cross_L_feed+Cross_W_50/2) (Cross_W/2+Cross_L_50/2+Cross_W_40/2-Cross_W_50/2, Cross_L_feed+Cross_W_50/2) (Cross_W/2+Cross_L_50/2+Cross_W_40/2-Cross_W_50/2, Cross_L_feed) (Cross_W/2+Cross_L_50/2, Cross_L_feed) (Cross_W/2+Cross_L_50/2, Cross_L_feed+Cross_W_50/2), closed, covered)
  Polyline3 = polyline(z=H, xy: (Cross_W/2-Cross_L_50/2, Cross_L-Cross_L_feed-Cross_W_50/2) (Cross_W/2-Cross_L_50/2, Cross_L-Cross_L_feed) (Cross_W/2-Cross_L_50/2-Cross_W_40/2+Cross_W_50/2, Cross_L-Cross_L_feed) (Cross_W/2-Cross_L_50/2-Cross_W_40/2+Cross_W_50/2, Cross_L-Cross_L_feed-Cross_W_50/2) (Cross_W/2-Cross_L_50/2, Cross_L-Cross_L_feed-Cross_W_50/2), closed, covered)
  Polyline4 = polyline(z=H, xy: (Cross_W/2+Cross_L_50/2, Cross_L-Cross_L_feed-Cross_W_50/2) (Cross_W/2+Cross_L_50/2+Cross_W_40/2-Cross_W_50/2, Cross_L-Cross_L_feed-Cross_W_50/2) (Cross_W/2+Cross_L_50/2+Cross_W_40/2-Cross_W_50/2, Cross_L-Cross_L_feed) (Cross_W/2+Cross_L_50/2, Cross_L-Cross_L_feed) (Cross_W/2+Cross_L_50/2, Cross_L-Cross_L_feed-Cross_W_50/2), closed, covered)
  series1_1 = rectangle(corner=(Cross_W/2-Cross_L_64/2, Cross_L_feed+Cross_W_50/2, H), x_size=-Cross_W_40, y_size=Cross_L_40)
  series1_2 = rectangle(corner=(Cross_W/2+Cross_L_64/2, Cross_L_feed+Cross_W_50/2, H), x_size=Cross_W_40, y_size=Cross_L_40)
  series2_1 = rectangle(corner=(Cross_W/2-Cross_L_64/2, Cross_L_feed+Cross_W_50/2+Cross_L_40, H), x_size=-Cross_W_64, y_size=Cross_L_64)
  series2_2 = rectangle(corner=(Cross_W/2+Cross_L_64/2, Cross_L_feed+Cross_W_50/2+Cross_L_40, H), x_size=Cross_W_64, y_size=Cross_L_64)
  series3_1 = rectangle(corner=(Cross_W/2-Cross_L_64/2, Cross_L_feed+Cross_W_50/2+Cross_L_40+Cross_L_64, H), x_size=-Cross_W_40, y_size=Cross_L_40)
  series3_2 = rectangle(corner=(Cross_W/2+Cross_L_64/2, Cross_L_feed+Cross_W_50/2+Cross_L_40+Cross_L_64, H), x_size=Cross_W_40, y_size=Cross_L_40)
  Crossover1.unite(feed6, feed7, feed5, parallel1..parallel4, Polyline1..Polyline4, series1_1, series1_2, series2_1, series2_2, series3_1, series3_2)
  Crossover1.rotate(axis=Z, angle=-90deg) in RelativeCS1
  Crossover1.move(Hybrid_W/2+Hybrid_L_50/2+Hybrid_W_50-Cross_W/2-Cross_L_50/2-Cross_W_50/2-Cross_W_40/2, Hybrid_L, 0mm) in RelativeCS1
  Crossover2 = Crossover1.duplicate_along_line(step=(3.5527137e-15mm, 34.798022mm, 0mm), total=2) in RelativeCS1
  Top_1 = Top.duplicate_mirror(point=(Hybrid_W/2+Hybrid_L_50/2+Hybrid_W_50+Cross_L/2, 2*Hybrid_L+Cross_W_40+Cross_W_50+Cross_L_50, 0mm), normal=(1mm, 0mm, 0mm))
  Hybrid1.unite(Hybrid2, Phaser45_down, Hybrid4, Phaser45_top, Top, Top_1, Hybird3, Feed_8, Feed_7, Feed_6, Feed_5, Crossover2, Crossover1, Bend_8, Bend_7, Bend_6, Bend_4, Bend_5, Bend_3, Bend_2, Bend_1)
  Patch1 = rectangle(corner=(Wa/2-Wp/2, La/2-Lp/2, H), x_size=Wp, y_size=Lp)
  cut = rectangle(corner=(Wa/2-S/2, La/2-Lp/2, H), x_size=S, y_size=depth)
  Patch1.subtract(cut)
  Rectangle1 = rectangle(corner=(Wa/2-W_50/2, 0mm, H), x_size=W_50, y_size=3*hg+depth)
  Patch1.unite(Rectangle1)
  Patch1.move(Hybrid_W/2-Hybrid_L_50/2-2*exten_W_50-2*exten_c-Wa/2-W_50/2, Hybrid_L+2*Cross_W_50+2*Cross_W_40+2*Cross_L_50+Hybrid_L+L_feed5, 0)
  Patch2 = Patch1.duplicate_along_line(step=(3*exten_W_50+2*exten_c+Hybrid_L_50, 0mm, 0mm), total=2)
  Patch3 = Patch1.duplicate_along_line(step=(4*exten_W_50+2*exten_c+Hybrid_L_50+Cross_L, 0mm, 0mm), total=2)
  Patch4 = Patch1.duplicate_along_line(step=(7*exten_W_50+4*exten_c+2*Hybrid_L_50+Cross_L, 0mm, 0mm), total=2)
  Hybrid1.unite(Patch1..Patch4)
  Hybrid1.thicken(-0.017mm)
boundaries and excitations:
  PerfE1: Perfect E Objects=Ground
  Rad1: Radiation Objects=Box2
  1: Lumped Port Faces=Port1.face Modes{Mode1{IntLine{middle of Port1.edge(z opposite corner) -> middle of Port1.edge(z at corner)} CharImp=Zpi RenormImp=50ohm}} Impedance=50ohm
  2: Lumped Port Objects=Port2 Modes{Mode1{IntLine{middle of Port2.edge(z opposite corner) -> middle of Port2.edge(z at corner)} CharImp=Zpi RenormImp=50ohm}} Impedance=50ohm
  3: Lumped Port Objects=Port3 Modes{Mode1{IntLine{middle of Port3.edge(z opposite corner) -> middle of Port3.edge(z at corner)} CharImp=Zpi RenormImp=50ohm}} Impedance=50ohm
  4: Lumped Port Objects=Port4 Modes{Mode1{IntLine{middle of Port4.edge(z opposite corner) -> middle of Port4.edge(z at corner)} CharImp=Zpi RenormImp=50ohm}} Impedance=50ohm
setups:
  Setup1: HfssDriven Frequency=5GHz MaxDeltaS=0.02 MaximumPasses=25 MinimumPasses=1 MinimumConvergedPasses=1 PercentRefinement=30 BasisOrder=1 PortAccuracy=2
    sweep Sweep: 4GHz to 6GHz step 0.01GHz; Type=Fast SaveFields
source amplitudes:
  1:1: 1W 0deg
  2:1, 3:1, 4:1: 0W 0deg
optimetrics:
  ParametricSetup1: Parametric disabled Sim._Setups=[Setup1]
    sweep L_feed5: LIN 2mm 8mm 0.25mm
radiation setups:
  Infinite Sphere1: Infinite Sphere Theta=0deg..180deg step 1deg Phi=-180deg..180deg step 1deg
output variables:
  phase_diff_5_6 = ang_deg(S(5,1))-ang_deg(S(6,1))
  phase_diff_6_7 = ang_deg(S(6,1))-ang_deg(S(7,1))
  phase_diff_7_8 = ang_deg(S(7,1))-ang_deg(S(8,1))
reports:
  S-Parameters: dB(S(1,1)), dB(S(2,1)), dB(S(3,1)), dB(S(4,1)) vs Freq on Setup1 : Sweep; markers MX1 at x=5.0029718e+09, MY1 at y=-14.975
  Insertion Loss: dB(S(5,1)), dB(S(6,1)), dB(S(7,1)), dB(S(8,1)) vs Freq on Setup1 : Sweep; markers MX1 at x=5.0029718e+09
  S Parameter Plot 3: ang_deg(S(5,1)), ang_deg(S(6,1)), ang_deg(S(7,1)), ang_deg(S(8,1)) vs Freq on Setup1 : Sweep; markers MX1 at x=5e+09
  Output Variables Plot 1: phase_diff_5_6, phase_diff_6_7, phase_diff_7_8 vs Freq on Setup1 : Sweep; markers MX1 at x=5e+09
  S Parameter Plot 4: ang_deg(S(2,1)) vs Freq on Setup1 : Sweep [L_feed5=all]; markers MX1 at x=4.9999383e+09

design Hybrid_90 (Circuit)
options: SParamCircuitDef IntegrationMethod=FFT
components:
  A1 = MS_TRL(W=1.76772mm P=8.95112mm)
  A2 = MS_TEEC(W1=1.76772mm W3=1.76772mm W2=2.98223mm)
  A3 = MS_TRL(W=1.76772mm P=8.95112mm)
  A6 = MS_TRL(W=2.98223mm P=8.73787mm)
  A4 = MS_TRL(W=2.98223mm P=8.73787mm)
  A5 = MS_TEEC(W1=2.98223mm W3=1.76772mm W2=1.76772mm)
  A7 = MS_TEEC(W1=2.98223mm W3=1.76772mm W2=1.76772mm)
  A8 = MS_TEEC(W1=1.76772mm W3=1.76772mm W2=2.98223mm)
  A9 = MS_TRL(W=1.76772mm P=8.95112mm)
  A10 = MS_TRL(W=1.76772mm P=8.95112mm)
  A11 = MS_TRL(W=1.76772mm P=8.95112mm)
  A12 = MS_TRL(W=1.76772mm P=8.95112mm)
  port Port1 pnum=1 rz=50ohm iz=0ohm noisetemp=16.85 noisetemporig=16.85cel
  port Port2 pnum=2 rz=50ohm iz=0ohm noisetemp=16.85 noisetemporig=16.85cel
  port Port3 pnum=3 rz=50ohm iz=0ohm noisetemp=16.85 noisetemporig=16.85cel
  port Port4 pnum=4 rz=50ohm iz=0ohm noisetemp=16.85 noisetemporig=16.85cel
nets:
  net_1: A2.0, A1.1
  net_10: A5.1, A10.1
  net_11: A11.0, A7.1
  net_12: A8.0, A12.0
  net_2: A2.2, A3.1
  net_3: A2.1, A6.0
  net_4: A5.2, A3.0
  net_5: A5.0, A4.0
  net_6: A7.0, A6.1
  net_7: A8.1, A4.1
  net_8: A9.0, A8.2
  net_9: A9.1, A7.2
  Port1: A1.0
  Port2: A11.1
  Port3: A12.1
  Port4: A10.0
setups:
  LinearFrequency: LinearFrequencyData(false, 0.1, false, "", false) SweepDefinition{Variable=F Data="LIN 3GHz 7GHz 0.005GHz"}
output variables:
  Phase_Defference = abs(ang_deg(S(Port2,Port1))-ang_deg(S(Port3,Port1))-pi/2)
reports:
  S-Parameters: dB(S(Port1,Port1)), dB(S(Port2,Port1)), dB(S(Port3,Port1)), dB(S(Port4,Port1)) vs F on LinearFrequency : LinearFrequency; markers MX1 at x=4.9409061e+09, MY1 at y=-14
  Phase Error: Phase_Defference vs F on LinearFrequency : LinearFrequency; markers MY1 at y=0.0174533

design Crossover (Circuit)
options: SParamCircuitDef IntegrationMethod=FFT
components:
  A52 = MS_TRL(W=1.76772mm P=5mm)
  A1 = MS_TRL(W=1.76772mm P=8.95112mm)
  A2 = MS_TEEC(W1=2.4943mm W2=1.76772mm W3=1.76772mm)
  A3 = MS_TRL(W=1.76772mm P=5mm)
  A6 = MS_TRL(W=2.4943mm P=8.81112mm)
  A7 = MS_TEEC(W1=1.15236mm W2=2.4943mm W3=1.15236mm)
  A8 = MS_TRL(W=1.15236mm P=8.95112mm)
  A9 = MS_TEEC(W1=2.4943mm W2=1.15236mm W3=1.15236mm)
  A10 = MS_TRL(W=2.4943mm P=8.81112mm)
  A5 = MS_TRL(W=2.4943mm P=8.81112mm)
  A4 = MS_TRL(W=2.4943mm P=8.81112mm)
  A11 = MS_TRL(W=1.15236mm P=9.11693mm)
  A12 = MS_TEEC(W1=2.4943mm W2=1.15236mm W3=1.15236mm)
  A13 = MS_TRL(W=1.15236mm P=8.95112mm)
  A14 = MS_TEEC(W1=1.15236mm W2=2.4943mm W3=1.15236mm)
  A15 = MS_TRL(W=1.15236mm P=9.11693mm)
  A16 = MS_TEEC(W1=2.4943mm W2=1.76772mm W3=1.76772mm)
  A17 = MS_TEEC(W1=1.76772mm W2=2.4943mm W3=1.76772mm)
  A18 = MS_TRL(W=1.76772mm P=8.95112mm)
  A19 = MS_TRL(W=1.76772mm P=5mm)
  A20 = MS_TRL(W=1.76772mm P=5mm)
  A21 = MS_TEEC(W1=1.76772mm W2=2.4943mm W3=1.76772mm)
  port Port1 pnum=1 rz=50ohm iz=0ohm noisetemp=16.85 noisetemporig=16.85cel
  port Port2 pnum=2 rz=50ohm iz=0ohm noisetemp=16.85 noisetemporig=16.85cel
  port Port3 pnum=3 rz=50ohm iz=0ohm noisetemp=16.85 noisetemporig=16.85cel
  port Port4 pnum=4 rz=50ohm iz=0ohm noisetemp=16.85 noisetemporig=16.85cel
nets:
  net_20: A52.1, A21.0
  net_21: A1.1, A21.2
  net_22: A1.0, A2.2
  net_23: A2.1, A3.1
  net_26: A4.1, A16.0
  net_27: A2.0, A6.0
  net_28: A17.1, A5.1
  net_29: A6.1, A7.1
  net_30: A7.2, A8.0
  net_31: A17.2, A18.0
  net_32: A8.1, A9.2
  net_33: A10.0, A21.1
  net_34: A9.0, A10.1
  net_35: A7.0, A11.0
  net_36: A5.0, A12.0
  net_37: A12.1, A11.1
  net_38: A13.0, A12.2
  net_39: A4.0, A14.1
  net_40: A14.2, A13.1
  net_41: A15.0, A9.1
  net_42: A14.0, A15.1
  net_43: A16.2, A18.1
  net_44: A16.1, A19.0
  net_45: A20.0, A17.0
  Port1: A52.0
  Port2: A19.1
  Port3: A20.1
  Port4: A3.0
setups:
  LinearFrequency: LinearFrequencyData(false, 0.1, false, "", false) SweepDefinition{Variable=F Data="LIN 3GHz 7GHz 0.005GHz"}
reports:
  S-Parameters: dB(S(Port1,Port1)), dB(S(Port2,Port1)), dB(S(Port3,Port1)), dB(S(Port4,Port1)) vs F on LinearFrequency : LinearFrequency; markers MX1 at x=5.0263158e+09, MY1 at y=-20
  S Parameter Plot 1: ang_deg(S(Port3,Port1)) vs F on LinearFrequency : LinearFrequency; markers MX1 at x=4.998513e+09

design Butler_Matrix (Circuit)
options: SParamCircuitDef IntegrationMethod=FFT
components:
  U326 = Crossover1()
  U1 = Crossover1()
  A330 = MS_BENDC(W2=1.76772mm W1=1.76772mm)
  A1 = MS_BENDC(W2=1.76772mm W1=1.76772mm)
  A2 = MS_BENDC(W2=1.76772mm W1=1.76772mm)
  A3 = MS_BENDC(W2=1.76772mm W1=1.76772mm)
  A4 = MS_BENDC(W2=1.76772mm W1=1.76772mm)
  A5 = MS_BENDC(W2=1.76772mm W1=1.76772mm)
  A6 = MS_BENDC(W2=1.76772mm W1=1.76772mm)
  A349 = MS_TRL(W=1.76772mm P=7.2mm)
  A7 = MS_BENDC(W2=1.76772mm W1=1.76772mm)
  A8 = MS_TRL(W=1.76772mm P=9.6777mm)
  A9 = MS_BENDC(W2=1.76772mm W1=1.76772mm)
  A10 = MS_TRL(W=1.76772mm P=7.2mm)
  A11 = MS_BENDC(W2=1.76772mm W1=1.76772mm)
  A12 = MS_BENDC(W2=1.76772mm W1=1.76772mm)
  A13 = MS_TRL(W=1.76772mm P=7.2mm)
  A14 = MS_BENDC(W2=1.76772mm W1=1.76772mm)
  A15 = MS_TRL(W=1.76772mm P=9.6777mm)
  A16 = MS_BENDC(W2=1.76772mm W1=1.76772mm)
  A17 = MS_TRL(W=1.76772mm P=7.2mm)
  A18 = MS_BENDC(W2=1.76772mm W1=1.76772mm)
  U2 = Hybrid_91()
  U3 = Hybrid_91()
  U4 = Hybrid_91()
  U5 = Hybrid_91()
  A19 = MS_BENDC(W2=1.76772mm W1=1.76772mm)
  A20 = MS_BENDC(W2=1.76772mm W1=1.76772mm)
  A21 = MS_TRL(W=1.76772mm P=22.16376mm)
  A22 = MS_TRL(W=1.76772mm P=22.16376mm)
  A23 = MS_TRL(W=1.76772mm P=8.95112mm)
  A24 = MS_TRL(W=1.76772mm P=8.95112mm)
  port Port1 pnum=1 rz=50ohm iz=0ohm noisetemp=16.85 noisetemporig=16.85cel
  port Port2 pnum=2 rz=50ohm iz=0ohm noisetemp=16.85 noisetemporig=16.85cel
  port Port3 pnum=3 rz=50ohm iz=0ohm noisetemp=16.85 noisetemporig=16.85cel
  port Port4 pnum=4 rz=50ohm iz=0ohm noisetemp=16.85 noisetemporig=16.85cel
  port Port5 pnum=5 rz=50ohm iz=0ohm noisetemp=16.85 noisetemporig=16.85cel
  port Port6 pnum=6 rz=50ohm iz=0ohm noisetemp=16.85 noisetemporig=16.85cel
  port Port7 pnum=7 rz=50ohm iz=0ohm noisetemp=16.85 noisetemporig=16.85cel
  port Port8 pnum=8 rz=50ohm iz=0ohm noisetemp=16.85 noisetemporig=16.85cel
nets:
  net_37: A6.1, U2.Port1
  net_38: U3.0, A11.0
  net_39: U4.Port2, A12.0
  net_40: U5.Port3, A18.1
  net_43: U1.1, A20.1
  net_44: U1.0, A19.0
  net_45: A21.1, U3.Port1
  net_46: U5.Port2, A22.1
  net_47: A19.1, A23.1
  net_48: A20.0, A24.1
  net_53: A330.1, U326.1
  net_54: U326.2, A1.0
  net_55: A1.1, U4.Port1
  net_56: A330.0, U5.0
  net_57: A2.1, U326.3
  net_58: A2.0, U2.Port2
  net_59: U326.0, A3.0
  net_60: A3.1, U3.Port3
  net_61: A4.0, U3.Port2
  net_62: A4.1, U1.3
  net_63: U1.2, A5.0
  net_64: A5.1, U5.Port1
  net_66: A6.0, A349.0
  net_67: A349.1, A7.0
  net_68: A8.1, A7.1
  net_69: A8.0, A9.0
  net_70: A10.1, A9.1
  net_71: A10.0, A11.1
  net_74: A13.1, A12.1
  net_75: A13.0, A14.1
  net_76: A15.1, A14.0
  net_77: A15.0, A16.1
  net_78: A16.0, A17.0
  net_79: A18.0, A17.1
  Port1: U2.0
  Port2: U2.Port3
  Port3: U4.0
  Port4: U4.Port3
  Port5: A21.0
  Port6: A23.0
  Port7: A24.0
  Port8: A22.0
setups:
  LinearFrequency: LinearFrequencyData(false, 0.1, false, "", false) SweepDefinition{Variable=F Data="LIN 3GHz 7GHz 0.005GHz"}
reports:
  S-Parameters: dB(S(Port1,Port1)), dB(S(Port2,Port1)), dB(S(Port3,Port1)), dB(S(Port4,Port1)) vs F on LinearFrequency : LinearFrequency; markers MX1 at x=5e+09, MY1 at y=-14
  Insertion Loss: dB(S(Port5,Port1)), dB(S(Port6,Port1)), dB(S(Port7,Port1)), dB(S(Port8,Port1)) vs F on LinearFrequency : LinearFrequency

design Crossover1 (Circuit)
options: SParamCircuitDef IntegrationMethod=FFT
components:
  A52 = MS_TRL(W=1.76772mm P=5mm)
  A1 = MS_TRL(W=1.76772mm P=8.95112mm)
  A2 = MS_TEEC(W1=2.4943mm W2=1.76772mm W3=1.76772mm)
  A3 = MS_TRL(W=1.76772mm P=5mm)
  A6 = MS_TRL(W=2.4943mm P=8.81112mm)
  A7 = MS_TEEC(W1=1.15236mm W2=2.4943mm W3=1.15236mm)
  A8 = MS_TRL(W=1.15236mm P=8.95112mm)
  A9 = MS_TEEC(W1=2.4943mm W2=1.15236mm W3=1.15236mm)
  A10 = MS_TRL(W=2.4943mm P=8.81112mm)
  A5 = MS_TRL(W=2.4943mm P=8.81112mm)
  A4 = MS_TRL(W=2.4943mm P=8.81112mm)
  A11 = MS_TRL(W=1.15236mm P=9.11693mm)
  A12 = MS_TEEC(W1=2.4943mm W2=1.15236mm W3=1.15236mm)
  A13 = MS_TRL(W=1.15236mm P=8.95112mm)
  A14 = MS_TEEC(W1=1.15236mm W2=2.4943mm W3=1.15236mm)
  A15 = MS_TRL(W=1.15236mm P=9.11693mm)
  A16 = MS_TEEC(W1=2.4943mm W2=1.76772mm W3=1.76772mm)
  A17 = MS_TEEC(W1=1.76772mm W2=2.4943mm W3=1.76772mm)
  A18 = MS_TRL(W=1.76772mm P=8.95112mm)
  A19 = MS_TRL(W=1.76772mm P=5mm)
  A20 = MS_TRL(W=1.76772mm P=5mm)
  A21 = MS_TEEC(W1=1.76772mm W2=2.4943mm W3=1.76772mm)
  port Port1 pnum=1 rz=50ohm iz=0ohm noisetemp=16.85 noisetemporig=16.85cel
  port Port2 pnum=2 rz=50ohm iz=0ohm noisetemp=16.85 noisetemporig=16.85cel
  port Port3 pnum=3 rz=50ohm iz=0ohm noisetemp=16.85 noisetemporig=16.85cel
  port Port4 pnum=4 rz=50ohm iz=0ohm noisetemp=16.85 noisetemporig=16.85cel
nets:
  net_20: A52.1, A21.0
  net_21: A1.1, A21.2
  net_22: A2.2, A1.0
  net_23: A2.1, A3.1
  net_26: A16.0, A4.1
  net_27: A2.0, A6.0
  net_28: A5.1, A17.1
  net_29: A7.1, A6.1
  net_30: A8.0, A7.2
  net_31: A17.2, A18.0
  net_32: A8.1, A9.2
  net_33: A10.0, A21.1
  net_34: A10.1, A9.0
  net_35: A11.0, A7.0
  net_36: A5.0, A12.0
  net_37: A12.1, A11.1
  net_38: A13.0, A12.2
  net_39: A4.0, A14.1
  net_40: A13.1, A14.2
  net_41: A15.0, A9.1
  net_42: A15.1, A14.0
  net_43: A16.2, A18.1
  net_44: A16.1, A19.0
  net_45: A17.0, A20.0
  Port1: A52.0
  Port2: A19.1
  Port3: A20.1
  Port4: A3.0
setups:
  LinearFrequency: LinearFrequencyData(false, 0.1, false, "", false) SweepDefinition{Variable=F Data="LIN 3GHz 7GHz 0.005GHz"}

design Hybrid_91 (Circuit)
options: SParamCircuitDef IntegrationMethod=FFT
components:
  A1 = MS_TRL(W=1.76772mm P=8.95112mm)
  A2 = MS_TEEC(W1=1.76772mm W3=1.76772mm W2=2.98223mm)
  A3 = MS_TRL(W=1.76772mm P=8.95112mm)
  A6 = MS_TRL(W=2.98223mm P=8.73787mm)
  A4 = MS_TRL(W=2.98223mm P=8.73787mm)
  A5 = MS_TEEC(W1=2.98223mm W3=1.76772mm W2=1.76772mm)
  A7 = MS_TEEC(W1=2.98223mm W3=1.76772mm W2=1.76772mm)
  A8 = MS_TEEC(W1=1.76772mm W3=1.76772mm W2=2.98223mm)
  A9 = MS_TRL(W=1.76772mm P=8.95112mm)
  A10 = MS_TRL(W=1.76772mm P=8.95112mm)
  A11 = MS_TRL(W=1.76772mm P=8.95112mm)
  A12 = MS_TRL(W=1.76772mm P=8.95112mm)
  port Port1 pnum=1 rz=50ohm iz=0ohm noisetemp=16.85 noisetemporig=16.85cel
  port Port2 pnum=2 rz=50ohm iz=0ohm noisetemp=16.85 noisetemporig=16.85cel
  port Port3 pnum=3 rz=50ohm iz=0ohm noisetemp=16.85 noisetemporig=16.85cel
  port Port4 pnum=4 rz=50ohm iz=0ohm noisetemp=16.85 noisetemporig=16.85cel
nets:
  net_1: A2.0, A1.1
  net_10: A5.1, A10.1
  net_11: A7.1, A11.0
  net_12: A8.0, A12.0
  net_2: A2.2, A3.1
  net_3: A2.1, A6.0
  net_4: A5.2, A3.0
  net_5: A5.0, A4.0
  net_6: A7.0, A6.1
  net_7: A8.1, A4.1
  net_8: A8.2, A9.0
  net_9: A7.2, A9.1
  Port1: A1.0
  Port2: A11.1
  Port3: A12.1
  Port4: A10.0
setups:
  LinearFrequency: LinearFrequencyData(false, 0.1, false, "", false) SweepDefinition{Variable=F Data="LIN 3GHz 7GHz 0.005GHz"}
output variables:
  Phase_Defference = abs(ang_deg(S(Port2,Port1))-ang_deg(S(Port3,Port1))-pi/2)
